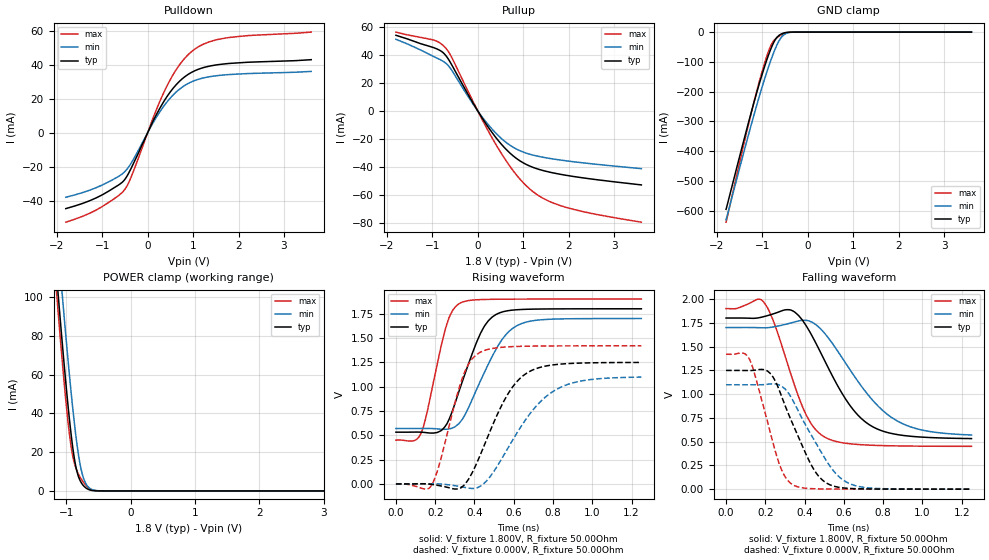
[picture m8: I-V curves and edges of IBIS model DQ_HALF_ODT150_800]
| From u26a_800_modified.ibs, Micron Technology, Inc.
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|MODEL DQ_HALF_ODT150_800 (Reduced-Strength IO Driver with 150 ODT Submodel)
[Model]   DQ_HALF_ODT150_800
Model_type   I/O
Vinl = 700.000mV
Vinh = 1.100V
Vmeas = 900.000mV
Vref = 900.000mV
Cref = 0.0pF
Rref = 25.000Ohm
|   typ   min   max
C_comp   2.890pF   2.490pF   3.280pF
| Note: C_comp increases when the ODT circuit is enabled.
[Model Spec]
| Input threshold voltage corners
Vinl   0.700V   0.650V   0.750V
Vinh   1.100V   1.050V   1.150V
| Measurement voltage corners
Vmeas   0.900V   0.850V   0.950V
| Timing spec test load voltage corners
Vref   0.900V   0.850V   0.950V
[Receiver Thresholds]
Vth   =  0.900V
Vth_min  =  0.882V
Vth_max  =  0.918V
Vinh_ac  =  0.200V
Vinh_dc  =  0.125V
Vinl_ac  = -0.200V
Vinl_dc  = -0.125V
Tslew_ac =  5.000ns |Not specified, so set to high value
Threshold_sensitivity = 0.50
Reference_supply Pullup_ref
[Voltage Range]   1.800V   1.700V   1.900V
[Pullup Reference]   1.800V   1.700V   1.900V
| Junction Temperature (Ambient temp is 25C typ, 85C min, 0C max)
[Temperature Range]   40.0   100.0   0.0
[Add Submodel]
| Submodel Name   Mode
150ohm_ODT_800   Non-Driving
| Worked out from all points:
|   slope of the pulldown table from 0 to 0.27 V, typ, clamps not added: 18.5 ohm
|   slope of the pullup table from 0 to 0.27 V, typ, clamps not added: 20.1 ohm
|   GND clamp passes 1 mA (typ) near -0.46 V on its own axis
|   POWER clamp passes 1 mA (typ) near -0.67 V on its own axis
|   falling waveform, V_fixture 1.800V, R_fixture 50.00Ohm: 20-80 % time 214ps typ, 255ps min, 150ps max; typ from 1.8 V to 0.532 V
|   rising waveform, V_fixture 1.800V, R_fixture 50.00Ohm: 20-80 % time 137ps typ, 165ps min, 95.5ps max; typ from 0.532 V to 1.8 V
|   rising waveform, V_fixture 0.000V, R_fixture 50.00Ohm: 20-80 % time 176ps typ, 226ps min, 115ps max; typ from 0 V to 1.25 V
|   falling waveform, V_fixture 0.000V, R_fixture 50.00Ohm: 20-80 % time 157ps typ, 183ps min, 112ps max; typ from 1.25 V to 0 V
[Pulldown]
|   Voltage   I(typ)   I(min)   I(max)
-1.8V     -44.79mA   -38.1mA    -52.82mA
-1.13V    -38.43mA   -32.4mA    -45.6mA
-655mV    -31.11mA   -26.01mA   -37.45mA
-500mV    -27.49mA   -22.86mA   -33.39mA
-365mV    -21.09mA   -18.05mA   -26.28mA
145mV     8.233mA    7.053mA    10.47mA
420mV     21.17mA    18.03mA    27.38mA
710mV     30.69mA    25.99mA    40.51mA
1.035V    36.67mA    30.92mA    49.43mA
1.345V    39.35mA    33.1mA     53.68mA
1.75V     40.92mA    34.38mA    56.2mA
3.6V      43.26mA    36.33mA    59.57mA
[GND Clamp]
|   Voltage   I(typ)   I(min)   I(max)
-1.8V     -595.2mA   -630.3mA   -638.4mA
-1.34V    -323.5mA   -364.1mA   -331.7mA
-1.08V    -179.5mA   -222mA     -172.5mA
-955mV    -117.2mA   -159.1mA   -105.8mA
-860mV    -74.79mA   -114.7mA   -62.29mA
-780mV    -44.2mA    -80.29mA   -35.37mA
-695mV    -20.73mA   -48.19mA   -20.33mA
-620mV    -9.519mA   -25.92mA   -12.73mA
-545mV    -3.898mA   -11.34mA   -6.772mA
-460mV    -953.8uA   -3.4mA     -2.082mA
-355mV    -81.45uA   -577.5uA   -170.1uA
3.6V      0A         0A         0A
[Pullup]
|   Voltage   I(typ)   I(min)   I(max)
-1.8V     54.07mA    51.2mA     56.36mA
-950mV    45mA       38.56mA    50.42mA
-700mV    39.48mA    34mA       44.73mA
-560mV    32.24mA    28.47mA    37.45mA
0V        766.4nA    841.6nA    923.6nA
395mV     -18.89mA   -15.79mA   -23.75mA
780mV     -32.18mA   -25.99mA   -42.79mA
1.005V    -37.22mA   -29.5mA    -51.49mA
1.23V     -40.55mA   -31.72mA   -58.11mA
1.575V    -43.75mA   -33.96mA   -64.72mA
2.05V     -46.62mA   -36.13mA   -69.95mA
3.6V      -52.93mA   -41.31mA   -79.6mA
[POWER Clamp]
|   Voltage   I(typ)   I(min)   I(max)
-1.8V     395.7mA    417.1mA    394.8mA
-1.15V    110.2mA    135.2mA    101.2mA
-1.135V   104.1mA    129.2mA    94.99mA
-1.115V   96.14mA    121.2mA    86.86mA
-1.06V    74.74mA    99.53mA    65.25mA
-950mV    36.17mA    58.91mA    28.57mA
-910mV    24.73mA    45.53mA    19.51mA
-865mV    14.67mA    31.91mA    13.06mA
-770mV    4.326mA    11.03mA    6.169mA
-670mV    985.5uA    2.416mA    1.978mA
-365mV    0A         0A         0A
3.6V      0A         0A         0A
[Ramp]
R_load = 50.00Ohm
|   typ   min   max
dV/dt_r   749.208mV/175.879ps 658.912mV/226.220ps 851.604mV/114.762ps
dV/dt_f   760.814mV/213.785ps 678.214mV/254.752ps 869.793mV/150.412ps
[Falling Waveform]
V_fixture = 1.800V
V_fixture_min = 1.700V
V_fixture_max = 1.900V
R_fixture = 50.00Ohm
|   Time   V(typ)   V(min)   V(max)
0s        1.8V       1.7V       1.9V
190ps     1.814V     1.697V     1.973V
250ps     1.85V      1.71V      1.72V
350ps     1.862V     1.759V     1.085V
430ps     1.642V     1.763V     699.2mV
510ps     1.319V     1.62V      539.3mV
630ps     883.8mV    1.26V      477.7mV
750ps     653mV      927.5mV    461.4mV
940ps     556.5mV    654.9mV    453.3mV
1.25ns    532mV      569.7mV    450.4mV
[Rising Waveform]
V_fixture = 1.800V
V_fixture_min = 1.700V
V_fixture_max = 1.900V
R_fixture = 50.00Ohm
|   Time   V(typ)   V(min)   V(max)
0s        532mV      569.7mV    450.4mV
90ps      532.9mV    569.8mV    443.9mV
130ps     531.9mV    570.3mV    529.9mV
250ps     589.7mV    561.8mV    1.58V
290ps     763.3mV    577.8mV    1.788V
330ps     1.004V     643mV      1.862V
460ps     1.648V     1.186V     1.896V
540ps     1.766V     1.483V     1.899V
620ps     1.791V     1.63V      1.899V
1.25ns    1.8V       1.7V       1.9V
[Rising Waveform]
V_fixture = 0.000V
V_fixture_min = 0.000V
V_fixture_max = 0.000V
R_fixture = 50.00Ohm
|   Time   V(typ)   V(min)   V(max)
0s        -29.8uV    -40.34uV   -23.96uV
180ps     -4.266mV   1.837mV    -18.86mV
220ps     -16.84mV   306.6uV    193.1mV
340ps     -25.75mV   -31.58mV   1.096V
430ps     300.1mV    -22.46mV   1.354V
560ps     888.1mV    331.9mV    1.408V
670ps     1.144V     687mV      1.416V
770ps     1.214V     906.9mV    1.418V
880ps     1.237V     1.026V     1.419V
1.25ns    1.249V     1.098V     1.419V
[Falling Waveform]
V_fixture = 0.000V
V_fixture_min = 0.000V
V_fixture_max = 0.000V
R_fixture = 50.00Ohm
|   Time   V(typ)   V(min)   V(max)
0s        1.249V     1.098V     1.419V
90ps      1.248V     1.098V     1.429V
120ps     1.248V     1.098V     1.364V
230ps     1.207V     1.107V     559.3mV
290ps     937.6mV    1.072V     169.7mV
340ps     684mV      935.3mV    47.03mV
470ps     139.8mV    441.3mV    3.253mV
540ps     37.56mV    211.4mV    1.537mV
620ps     8.964mV    66.9mV     809.5uV
1.25ns    -29.8uV    -40.34uV   -23.96uV
